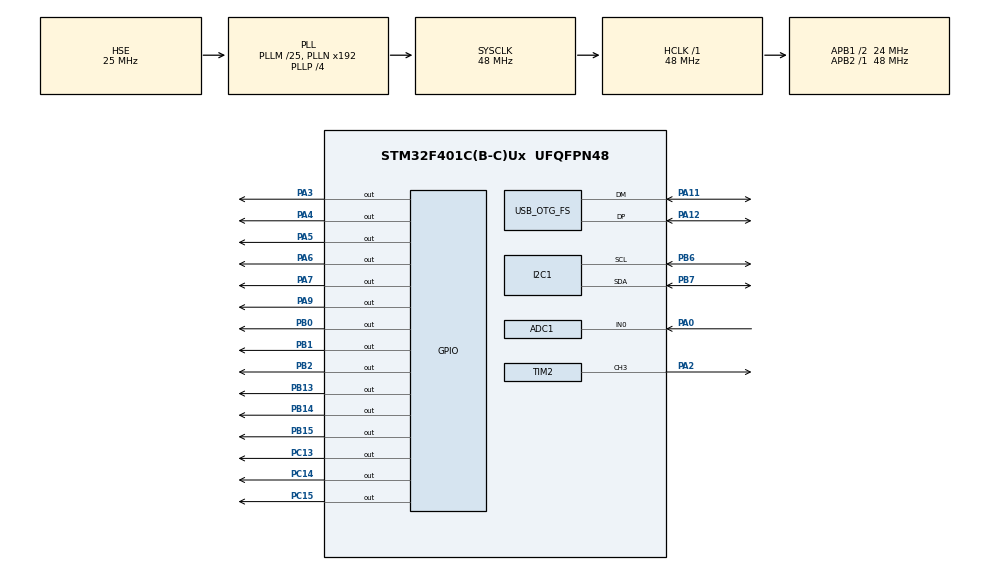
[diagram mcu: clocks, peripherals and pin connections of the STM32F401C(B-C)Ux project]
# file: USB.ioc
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ADC1.Channel-0\#ChannelRegularConversion=ADC_CHANNEL_0
ADC1.NbrOfConversionFlag=1
ADC1.Rank-0\#ChannelRegularConversion=1
ADC1.SamplingTime-0\#ChannelRegularConversion=ADC_SAMPLETIME_3CYCLES
ADC1.master=1
FREERTOS.Tasks01=Blink,24,128,StartBlink,Default,NULL,Dynamic,NULL,NULL
FREERTOS.configUSE_NEWLIB_REENTRANT=1
Mcu.Family=STM32F4
Mcu.Name=STM32F401C(B-C)Ux
Mcu.Package=UFQFPN48
NVIC.OTG_FS_IRQn=true\:5\:0\:false\:false\:true\:true\:false\:true\:true
NVIC.PriorityGroup=NVIC_PRIORITYGROUP_4
NVIC.TIM1_TRG_COM_TIM11_IRQn=true\:15\:0\:false\:false\:true\:false\:false\:true\:true
NVIC.TimeBase=TIM1_TRG_COM_TIM11_IRQn
NVIC.TimeBaseIP=TIM11
PA0-WKUP.Signal=ADCx_IN0
PA11.Mode=Device_Only
PA11.Signal=USB_OTG_FS_DM
PA12.Mode=Device_Only
PA12.Signal=USB_OTG_FS_DP
PA13.Mode=Trace_Asynchronous_SW
PA13.Signal=SYS_JTMS-SWDIO
PA14.Mode=Trace_Asynchronous_SW
PA14.Signal=SYS_JTCK-SWCLK
PA2.GPIO_ModeDefaultPP=GPIO_MODE_AF_OD
PA2.Signal=S_TIM2_CH3
PA3.Signal=GPIO_Output
PA4.Signal=GPIO_Output
PA5.Signal=GPIO_Output
PA6.Signal=GPIO_Output
PA7.Signal=GPIO_Output
PA9.Signal=GPIO_Output
PB0.Signal=GPIO_Output
PB1.Signal=GPIO_Output
PB13.Signal=GPIO_Output
PB14.Signal=GPIO_Output
PB15.Signal=GPIO_Output
PB2.Signal=GPIO_Output
PB3.Mode=Trace_Asynchronous_SW
PB3.Signal=SYS_JTDO-SWO
PB6.Mode=I2C
PB6.Signal=I2C1_SCL
PB7.Mode=I2C
PB7.Signal=I2C1_SDA
PC13-ANTI_TAMP.Signal=GPIO_Output
PC14-OSC32_IN.Signal=GPIO_Output
PC15-OSC32_OUT.Signal=GPIO_Output
PH0\ -\ OSC_IN.Mode=HSE-External-Oscillator
PH0\ -\ OSC_IN.Signal=RCC_OSC_IN
PH1\ -\ OSC_OUT.Mode=HSE-External-Oscillator
PH1\ -\ OSC_OUT.Signal=RCC_OSC_OUT
ProjectManager.HeapSize=0x200
ProjectManager.StackSize=0x400
ProjectManager.TargetToolchain=Makefile
RCC.48MHZClocksFreq_Value=48000000
RCC.AHBFreq_Value=48000000
RCC.APB1CLKDivider=RCC_HCLK_DIV2
RCC.APB1Freq_Value=24000000
RCC.APB1TimFreq_Value=48000000
RCC.APB2Freq_Value=48000000
RCC.APB2TimFreq_Value=48000000
RCC.CortexFreq_Value=48000000
RCC.HCLKFreq_Value=48000000
RCC.HSE_VALUE=25000000
RCC.HSI_VALUE=16000000
RCC.LSE_VALUE=32768
RCC.PLLM=25
RCC.PLLP=RCC_PLLP_DIV4
RCC.SYSCLKFreq_VALUE=48000000
RCC.SYSCLKSource=RCC_SYSCLKSOURCE_PLLCLK
RCC.VCOOutputFreq_Value=192000000
SH.ADCx_IN0.0=ADC1_IN0,IN0
SH.S_TIM2_CH3.0=TIM2_CH3,PWM Generation3 CH3
TIM2.Channel-PWM\ Generation3\ CH3=TIM_CHANNEL_3
USB_DEVICE.CLASS_NAME_FS=CDC
USB_DEVICE.VirtualMode=Cdc
USB_DEVICE.VirtualModeFS=Cdc_FS
USB_OTG_FS.VirtualMode=Device_Only
VP_FREERTOS_VS_CMSIS_V2.Mode=CMSIS_V2
VP_SYS_VS_tim11.Mode=TIM11
VP_TIM2_VS_ClockSourceINT.Mode=Internal
VP_USB_DEVICE_VS_USB_DEVICE_CDC_FS.Mode=CDC_FS
board=custom

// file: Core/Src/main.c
/* USER CODE BEGIN Header */
/**
  ******************************************************************************
  * @file           : main.c
  * @brief          : Main program body
  ******************************************************************************
  * @attention
  *
  * Copyright (c) 2023 STMicroelectronics.
  * All rights reserved.
  *
  * This software is licensed under terms that can be found in the LICENSE file
  * in the root directory of this software component.
  * If no LICENSE file comes with this software, it is provided AS-IS.
  *
  ******************************************************************************
  */

/* USER CODE END Header */
#include "main.h"
#include "cmsis_os.h"
#include "adc.h"
#include "i2c.h"
#include "tim.h"
#include "usb_device.h"
#include "gpio.h"
#include "SEGGER_RTT_printf.h"
// #include "SEGGER_RTT_printf.c"

/* USER CODE BEGIN Includes */
#include "semphr.h"
#include "usbd_cdc_if.h"
#include "usbd_core.h"
#include "lcd.h"
#include "stdio.h"
#include "configurables.h"
#include "commands.h"
#include "utils.h"
#include "thermal_control.h"

#include "TOF_manager.h"

//#include "usbd_cdc_if.h"
//#include "C:\Users\M\Desktop\STMprojects\USB\Api\core\src"

/* USER CODE END Includes */

/* USER CODE BEGIN PD */

extern USBD_HandleTypeDef hUsbDeviceFS;

/* USER CODE END PD */

/* USER CODE BEGIN PM */
typedef struct {
    SemaphoreHandle_t semaphore;
    double value;
} MUTEX_f;

typedef struct {
    SemaphoreHandle_t semaphore;
    GPIO_TypeDef* port;
    uint16_t pin;
} MUTEX_digitPin;
/* USER CODE END PM */

/* USER CODE BEGIN PV */
osThreadId_t COM_manager_handle;
const osThreadAttr_t COM_attributes = {
        .name = "COM",
        .stack_size = 128 * 2,
        .priority = (osPriority_t) osPriorityNormal,
};

osThreadId_t LED_manager_handle;
const osThreadAttr_t LED_attributes = {
        .name = "LED",
        .stack_size = 32,
        .priority = (osPriority_t) osPriorityNormal,
};

osThreadId_t TEMP_manager_handle;
const osThreadAttr_t TEMP_attributes = {
        .name = "TEMP",
        .stack_size = 128 * 1,
        .priority = (osPriority_t) osPriorityNormal,
};

osThreadId_t DISPLAY_manager_handle;
const osThreadAttr_t DISPLAY_attributes = {
        .name = "DISPLAY",
        .stack_size = 128 * 4,
        .priority = (osPriority_t) osPriorityNormal,
};
/* USER CODE END PV */

void SystemClock_Config(void);
void MX_FREERTOS_Init(void);
/* USER CODE BEGIN PFP */
void COM_manager(void *argument);

void LED_manager(void *argument);

//void Master(void *argument);

void TEMP_manager(void *argument);

void DISPLAY_manager(void *argument);

/* USER CODE END PFP */

/* USER CODE BEGIN 0 */
// RTT(0,function
uint8_t DataToSend[16];
uint8_t MessageCounter = 0;
uint8_t MessageLength = 0;

MUTEX_f ACTUAL_TEMP = {.semaphore = NULL, .value = 0};
MUTEX_f TARGET_TEMP = {.semaphore = NULL, .value = 0};
MUTEX_digitPin BLUE_LED = {.semaphore=NULL, .port = GPIOA, .pin = GPIO_PIN_5};
MUTEX_digitPin RED_LED = {.semaphore=NULL, .port = GPIOA, .pin = GPIO_PIN_6};
MUTEX_digitPin GREEN_LED = {.semaphore=NULL, .port = GPIOA, .pin = GPIO_PIN_7};

/* USER CODE END 0 */

int main(void)
{

  /* USER CODE BEGIN 1 */
    uint8_t enable_potentiometer = 1;

  /* USER CODE END 1 */

  /* MCU Configuration--------------------------------------------------------*/

  /* Reset of all peripherals, Initializes the Flash interface and the Systick. */
  HAL_Init();

  /* Configure the system clock */
  SystemClock_Config();

  /* USER CODE BEGIN SysInit */
    // SEGGER_SYSVIEW_Conf();
    // SEGGER_SYSVIEW_Start();
  /* USER CODE END SysInit */

  /* Initialize all configured peripherals */
  MX_GPIO_Init();
  MX_I2C1_Init();
  MX_ADC1_Init();
  MX_TIM2_Init();
  /* USER CODE BEGIN 2 */
    MX_USB_DEVICE_Init();
    // RTT(0,"waiting for connection \r \n ");
    HAL_GPIO_WritePin(BLUE_LED.port, BLUE_LED.pin, GPIO_PIN_SET);
    HAL_GPIO_WritePin(RED_LED.port, RED_LED.pin, GPIO_PIN_SET);
    HAL_GPIO_WritePin(GREEN_LED.port, GREEN_LED.pin, GPIO_PIN_SET);

    uint32_t before = HAL_GetTick();
    while((HAL_GetTick()-before)<CONNECTION_TIMEOUT){

        HAL_GPIO_TogglePin(BLUE_LED.port, BLUE_LED.pin);
        HAL_Delay(100);
        RTT(0,"waiting for connection \r \n ");
        USBD_StatusTypeDef x = USBD_LL_DevConnected(&hUsbDeviceFS);
        if(hUsbDeviceFS.dev_state==USBD_STATE_CONFIGURED){
            enable_potentiometer = 0;
            HAL_GPIO_WritePin(BLUE_LED.port, BLUE_LED.pin, GPIO_PIN_RESET);
            RTT(0,"connected");
            break;
        }
    };

    if(enable_potentiometer==1){
        USBD_DeInit(&hUsbDeviceFS);
        HAL_GPIO_WritePin(BLUE_LED.port, BLUE_LED.pin, GPIO_PIN_SET);
    }

    osKernelInitialize();

    if (enable_potentiometer == 1) {
        //    osThreadNew(POT_manager, NULL, &POT_attributes);

    }else
    {
        // osThreadNew(COM_manager, NULL, &COM_attributes);

    }

    // COM_manager_handle = osThreadNew(LED_manager, NULL, &LED_attributes);
    // TEMP_manager_handle = osThreadNew(TEMP_manager, NULL, &TEMP_attributes);
  // DISPLAY_manager_handle = osThreadNew(DISPLAY_manager, NULL, &DISPLAY_attributes);
    TOF_manager_handle = osThreadNew(TOF_manager, NULL, &TOF_attributes);
    // LED_manager_handle = osThreadNew(LED_manager, NULL, &LED_attributes);

    // RTT(0,"starting scheduler \r \n ");
    // SEGGER_SYSVIEW_Print("starting scheduler \r \n ");
    // SEGGER_SYSVIEW_Start();

  /* USER CODE END 2 */

  /* Init scheduler */
  osKernelInitialize();

  /* Call init function for freertos objects (in cmsis_os2.c) */
  MX_FREERTOS_Init();

  /* Start scheduler */
  osKernelStart();

  /* We should never get here as control is now taken by the scheduler */

  /* Infinite loop */
  /* USER CODE BEGIN WHILE */
//    while (1) {
    /* USER CODE END WHILE */

    /* USER CODE BEGIN 3 */
//    }
  /* USER CODE END 3 */
}

void SystemClock_Config(void)
{
  RCC_OscInitTypeDef RCC_OscInitStruct = {0};
  RCC_ClkInitTypeDef RCC_ClkInitStruct = {0};

  /** Configure the main internal regulator output voltage
  */
  __HAL_RCC_PWR_CLK_ENABLE();
  __HAL_PWR_VOLTAGESCALING_CONFIG(PWR_REGULATOR_VOLTAGE_SCALE2);

  /** Initializes the RCC Oscillators according to the specified parameters
  * in the RCC_OscInitTypeDef structure.
  */
  RCC_OscInitStruct.OscillatorType = RCC_OSCILLATORTYPE_HSE;
  RCC_OscInitStruct.HSEState = RCC_HSE_ON;
  RCC_OscInitStruct.PLL.PLLState = RCC_PLL_ON;
  RCC_OscInitStruct.PLL.PLLSource = RCC_PLLSOURCE_HSE;
  RCC_OscInitStruct.PLL.PLLM = 25;
  RCC_OscInitStruct.PLL.PLLN = 192;
  RCC_OscInitStruct.PLL.PLLP = RCC_PLLP_DIV4;
  RCC_OscInitStruct.PLL.PLLQ = 4;
  if (HAL_RCC_OscConfig(&RCC_OscInitStruct) != HAL_OK)
  {
    Error_Handler();
  }

  /** Initializes the CPU, AHB and APB buses clocks
  */
  RCC_ClkInitStruct.ClockType = RCC_CLOCKTYPE_HCLK|RCC_CLOCKTYPE_SYSCLK
                              |RCC_CLOCKTYPE_PCLK1|RCC_CLOCKTYPE_PCLK2;
  RCC_ClkInitStruct.SYSCLKSource = RCC_SYSCLKSOURCE_PLLCLK;
  RCC_ClkInitStruct.AHBCLKDivider = RCC_SYSCLK_DIV1;
  RCC_ClkInitStruct.APB1CLKDivider = RCC_HCLK_DIV2;
  RCC_ClkInitStruct.APB2CLKDivider = RCC_HCLK_DIV1;

  if (HAL_RCC_ClockConfig(&RCC_ClkInitStruct, FLASH_LATENCY_1) != HAL_OK)
  {
    Error_Handler();
  }
}

/* USER CODE BEGIN 4 */

void COM_manager(void *argument) {
    uint32_t len = 32;
    char feedback[RX_BUFF_SIZE];
    RTT(0,"COM manager started \r \n");
    RTT(0,"before while loop \r \n");
//    extern uint8_t received_bool;
    while (1) {

//RTT(0,"waiting for data \r \n");
        if (hUsbDeviceFS.dev_connection_status == 0x01) {
            HAL_Delay(1);

            RTT(0,"received command: %02X \r \n", UserRxBufferFS[0]);
            for (int i = 0; i < RX_BUFF_SIZE; i++) {
                RTT(0,"%02X ", UserRxBufferFS[i]);
            }
            switch (UserRxBufferFS[0]) {
                case SET_LED_STATE:
                    switch(UserRxBufferFS[RX_BUFF_SIZE - 2]){
                        case 0x01:
                            HAL_GPIO_WritePin(RED_LED.port, RED_LED.pin, !UserRxBufferFS[RX_BUFF_SIZE - 1]);
                            strcpy(feedback+(RX_BUFF_SIZE-12), "BL switched");

                            break;
                        case 0x02:
                            HAL_GPIO_WritePin(GREEN_LED.port, GREEN_LED.pin, !UserRxBufferFS[RX_BUFF_SIZE - 1]);
                            strcpy(feedback+(RX_BUFF_SIZE-12), "EL switched");
                            break;
                        default:
                            RTT(0,"unknown command \r \n");
                            break;
                    }

                    feedback[0]= SET_LED_STATE;
                    CDC_Transmit_FS(feedback, RX_BUFF_SIZE);
                    break;
                case REQUEST_ACTUAL_TEMPERATURE:
                    RTT(0,"sending actual temperature \r \n");
                    char value[RX_BUFF_SIZE];
// Write
                    memset(value, 0x00, RX_BUFF_SIZE);
                    * ((double *) (value + (sizeof(value) - sizeof(double)))) = ACTUAL_TEMP.value;
                    value[0]= REQUEST_ACTUAL_TEMPERATURE;
// Read
//                    int outValue = * ((int *) (set + (sizeof(set) - sizeof(int))));
                    CDC_Transmit_FS(value, RX_BUFF_SIZE);
//                    xSemaphoreGive(ACTUAL_TEMP.semaphore);
                    break;
                case SET_TARGET_TEMPERATURE:
                    RTT(0,"setting target temperature \r \n");
//                    float ee =
                    TARGET_TEMP.value = * ((float *) (UserRxBufferFS + (sizeof(UserRxBufferFS) - sizeof(float))));
                    memset(feedback, 0x00, RX_BUFF_SIZE);
                    * ((double *) (feedback + (sizeof(feedback) - sizeof(double)))) = TARGET_TEMP.value;
                    feedback[0]= SET_TARGET_TEMPERATURE;
                    CDC_Transmit_FS(feedback, RX_BUFF_SIZE);

                    break;
                case REQUEST_ACTUAL_HEATER_STATE:
                    RTT(0,"sending actual heater state \r \n");
                    char h_value[RX_BUFF_SIZE];
// Write
                    memset(h_value, 0x20, RX_BUFF_SIZE);
                    * ((int *) (h_value + (sizeof(h_value) - sizeof(int)))) = ((TIM2->CCR2)/MAX_PWM_VALUE)*100;

// Read
//                    int outValue = * ((int *) (set + (sizeof(set) - sizeof(int))));
                    CDC_Transmit_FS(value, RX_BUFF_SIZE);
                default:
                    RTT(0,"unknown command \r \n");
                    break;
            }

            memset(feedback, 0x20, RX_BUFF_SIZE);
            hUsbDeviceFS.dev_connection_status = 0x00;
//        osDelay(100);
        }
    }
}

void POT_manager(void *argument) {
    uint16_t potentiometer_value = HAL_ADC_GetValue(&hadc1);
    while(1) {
    HAL_Delay(1000);

    };
}

void TEMP_manager(void *argument) {
    HAL_TIM_PWM_Start(&htim2, TIM_CHANNEL_3);
    __HAL_TIM_SET_COMPARE(&htim2, TIM_CHANNEL_3, 100-0);

    HAL_ADC_Start(&hadc1);
    uint16_t dac_out;
    float prev_error = 0;
    float integral = 0;
    float prev_integral = 0;
    float error = 0;
    uint32_t time_variable=HAL_GetTick();
//    uint32_t time_diff;
    while (1) {

        if(HAL_GetTick()%TEMP_CORRECTION_INTERVAL==0) {
//            xSemaphoreTake(ACTUAL_TEMP.semaphore, portMAX_DELAY);
            HAL_ADC_Start(&hadc1);
            HAL_Delay(10);
            if (HAL_ADC_PollForConversion(&hadc1, HAL_MAX_DELAY) == HAL_OK) {
                ACTUAL_TEMP.value = calc_temp(HAL_ADC_GetValue(&hadc1));

            }
            HAL_ADC_Stop(&hadc1);

            time_variable = HAL_GetTick()-time_variable;
            error = TARGET_TEMP.value==0 ? 0.0 : (TARGET_TEMP.value - ACTUAL_TEMP.value);
            integral = prev_integral + error * TEMP_CORRECTION_INTERVAL;

//            dac_out = PID_PROPORTIONAL*error + PID_INTEGRAL*integral + PID_DERIVATIVE*((error - prev_error ) / TEMP_CORRECTION_INTERVAL);
            dac_out =  (TARGET_TEMP.value   - ACTUAL_TEMP.value)*100/ACTUAL_TEMP.value;
            prev_error = error;
            prev_integral = integral;
            time_variable = HAL_GetTick();

            __HAL_TIM_SET_COMPARE(&htim2, TIM_CHANNEL_3, dac_out > 100 ? 0:(100-dac_out));

        }
    }
}

#if LED1_BINARY_BLINK==0x01
void LED_manager(void *argument) {
    while (1) {
        if(received_bool==1){
            unsigned char order[8];
            HexToBin(CDC_RX_Buffer[0], order);
            xSemaphoreTake(LED1.semaphore, portMAX_DELAY);
            for (int i = 7; i >= 0; i--) {
                HAL_Delay(10);
                HAL_GPIO_WritePin(LED1.port, LED1.pin, order[i]);
            }
            xSemaphoreGive(LED1.semaphore);
            while (received_bool==1){
                HAL_Delay(10);
            }

        }

    }
}
#else
//void LED_manager(void *argument) {
//    while (1) {
//        if(received_bool==1){
//            xSemaphoreTake(LED1.semaphore, portMAX_DELAY);
//            HAL_GPIO_WritePin(LED1.port, LED1.pin, CDC_RX_Buffer[0]);
//            xSemaphoreGive(LED1.semaphore);
//            while (received_bool==1){
//                HAL_Delay(10);
//            }
//
//        }
//

void LED_manager(void *argument) {
    uint8_t prev_bool = hUsbDeviceFS.dev_connection_status;
    RTT(0,"LED manager started \r \n");
    RTT(0,"prev_bool: %d \r \n", prev_bool);
    while (1) {
//if(prev_bool!=hUsbDeviceFS.dev_connection_status){
//            prev_bool = hUsbDeviceFS.dev_connection_status;
//            RTT(0,"bool_state has changed \r \n");
//        }
////            xSemaphoreTake(LED2.semaphore, portMAX_DELAY);
//            HAL_GPIO_TogglePin(LED2.port, LED2.pin);
////            xSemaphoreGive(LED2.semaphore);
//            HAL_Delay(200);

    }
}
#endif

#if LED1_HEATER_INFO==0x01
void LED_manager(void *argument) {
    while (1) {

    }
}

#endif

#if LED2_CONNECTION_INFO==0x01

#endif

void DISPLAY_manager(void *argument) {
    RTT(0,"DISPLAY manager started \r \n");
    // HAL_GPIO_WritePin(GPIOA, GPIO_PIN_9, GPIO_PIN_SET);
    // HAL_GPIO_WritePin(GPIOB, GPIO_PIN_14, GPIO_PIN_RESET);
      initLCD();
  char *stl = "Github: @fatay";
  writeLCD(stl);
  char *ttl = "LCD Library";
  setCursor(0,1);

  writeLCD(ttl);

    while (1) {
        osDelay(400);
    }
}

/* USER CODE END 4 */

void HAL_TIM_PeriodElapsedCallback(TIM_HandleTypeDef *htim)
{
  if (htim->Instance == TIM11)
  {
    HAL_IncTick();
  }
}

void Error_Handler(void)
{
    __disable_irq();
    while (1) {
    }
}

#ifdef  USE_FULL_ASSERT
/**
  * @brief  Reports the name of the source file and the source line number
  *         where the assert_param error has occurred.
  * @param  file: pointer to the source file name
  * @param  line: assert_param error line source number
  * @retval None
  */
void assert_failed(uint8_t *file, uint32_t line)
{
  /* USER CODE BEGIN 6 */
  /* User can add his own implementation to report the file name and line number,
     ex: RTT(0,"Wrong parameters value: file %s on line %d\r\n", file, line) */
  /* USER CODE END 6 */
}
#endif /* USE_FULL_ASSERT */

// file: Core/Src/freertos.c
/* USER CODE BEGIN Header */
/**
  ******************************************************************************
  * File Name          : freertos.c
  * Description        : Code for freertos applications
  ******************************************************************************
  * @attention
  *
  * Copyright (c) 2023 STMicroelectronics.
  * All rights reserved.
  *
  * This software is licensed under terms that can be found in the LICENSE file
  * in the root directory of this software component.
  * If no LICENSE file comes with this software, it is provided AS-IS.
  *
  ******************************************************************************
  */
/* USER CODE END Header */

#include "FreeRTOS.h"
#include "task.h"
#include "main.h"
#include "cmsis_os.h"

/* Definitions for Blink */
osThreadId_t BlinkHandle;
const osThreadAttr_t Blink_attributes = {
  .name = "Blink",
  .stack_size = 128 * 4,
  .priority = (osPriority_t) osPriorityNormal,
};

void StartBlink(void *argument);

extern void MX_USB_DEVICE_Init(void);
void MX_FREERTOS_Init(void); /* (MISRA C 2004 rule 8.1) */

void MX_FREERTOS_Init(void) {

  /* Create the thread(s) */
  /* creation of Blink */
  BlinkHandle = osThreadNew(StartBlink, NULL, &Blink_attributes);

}

void StartBlink(void *argument)
{
  /* init code for USB_DEVICE */
  MX_USB_DEVICE_Init();
  for(;;)
  {
    osDelay(1);
  }
}
